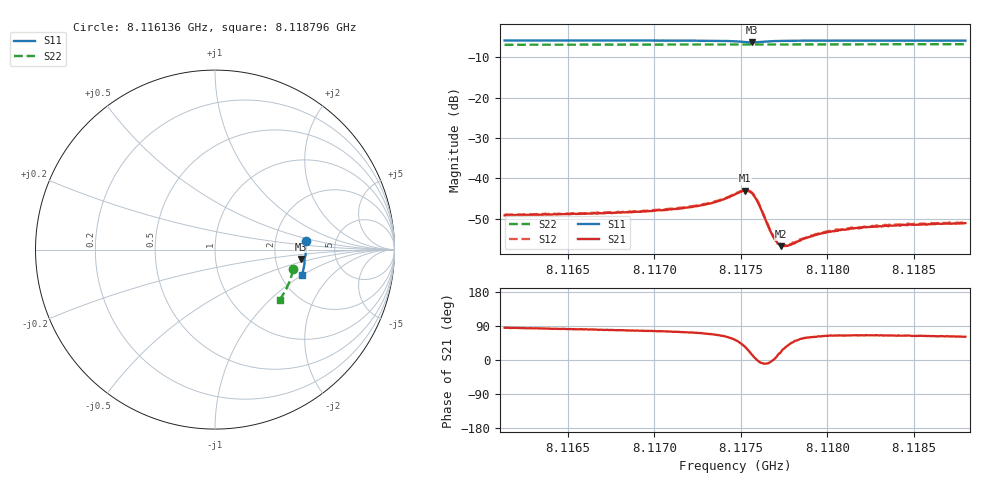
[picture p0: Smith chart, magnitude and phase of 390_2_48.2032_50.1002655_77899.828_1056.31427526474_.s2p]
#  HZ  S  RI  R  50.00
! Rohde & Schwarz Vector Network Analyzer
! Rohde-Schwarz,ZNB20-2Port,1311601062101988,3.16
! Created: UTC 3/20/2024, 11:53:34 AM
! freq[Hz]  re:S11  im:S11  re:S21  im:S21  re:S12  im:S12  re:S22  im:S22
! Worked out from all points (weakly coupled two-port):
!   401 points, 8.116136 GHz to 8.118796 GHz, reference 50 ohm
!   highest |S21| = -43.00 dB at 8.117526 GHz (marker M1); lowest = -56.7 dB at 8.117732 GHz (marker M2)
!   lowest |S11| = -6.4 dB at 8.117566 GHz (marker M3), VSWR 2.84, Z = 139 - j19 ohm
!   |S11| at or under -10 dB: nowhere
!   |S22| runs from -7.0 to -6.8 dB; largest |S21 - S12| = 0.00018
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8.1161357e9  0.5049 0.0481  0.000296 0.00348  0.000351 0.00353  0.4352 -0.1104
8.1165813e9  0.5063 0.0147  0.000567 0.00363  0.000608 0.00365  0.4278 -0.1404
8.117027e9  0.5051 -0.02  0.000969 0.00393  0.00104 0.00398  0.4183 -0.1699
8.11718e9  0.5038 -0.0326  0.00126 0.00417  0.00131 0.0042  0.4144 -0.18
8.1173197e9  0.5012 -0.0451  0.00178 0.00457  0.00186 0.00466  0.4107 -0.1889
8.1174128e9  0.4971 -0.0545  0.00268 0.005  0.00278 0.00504  0.4079 -0.1951
8.117466e9  0.4916 -0.0597  0.00379 0.0051  0.00393 0.00515  0.4062 -0.1986
8.1175259e9  0.481 -0.0603  0.00587 0.00396  0.00602 0.00395  0.4042 -0.202
8.1175458e9  0.4778 -0.0571  0.00636 0.00282  0.00647 0.0028  0.4036 -0.2031
8.1175658e9  0.4769 -0.0524  0.00634 0.00146  0.00649 0.00146  0.4029 -0.204
8.1175858e9  0.4789 -0.0479  0.00566 0.000313  0.00577 0.000253  0.4026 -0.2052
8.1176057e9  0.4829 -0.0456  0.00468 -0.000381  0.00477 -0.000431  0.4022 -0.2061
8.1176589e9  0.4924 -0.0481  0.0025 -0.000366  0.00258 -0.000427  0.4011 -0.2097
8.1176922e9  0.4956 -0.0519  0.00182 6.52e-05  0.00185 7.15e-05  0.4002 -0.2118
8.1177121e9  0.4967 -0.0545  0.00154 0.000329  0.00161 0.000307  0.3996 -0.2132
8.1177321e9  0.4976 -0.0568  0.00135 0.000536  0.00141 0.000551  0.3992 -0.2145
8.1177787e9  0.4986 -0.062  0.00114 0.000986  0.00116 0.000999  0.3977 -0.2177
8.1179117e9  0.4985 -0.075  0.000957 0.00168  0.000958 0.00173  0.3934 -0.2259
8.1180514e9  0.4971 -0.0867  0.000979 0.00204  0.00102 0.00212  0.3889 -0.2346
8.1182177e9  0.4948 -0.0998  0.00105 0.00228  0.00106 0.0023  0.3831 -0.2449
8.1183574e9  0.4925 -0.1103  0.00112 0.00237  0.0012 0.0024  0.3781 -0.2533
8.1187964e9  0.484 -0.1426  0.00135 0.00246  0.00139 0.00253  0.3611 -0.2791
